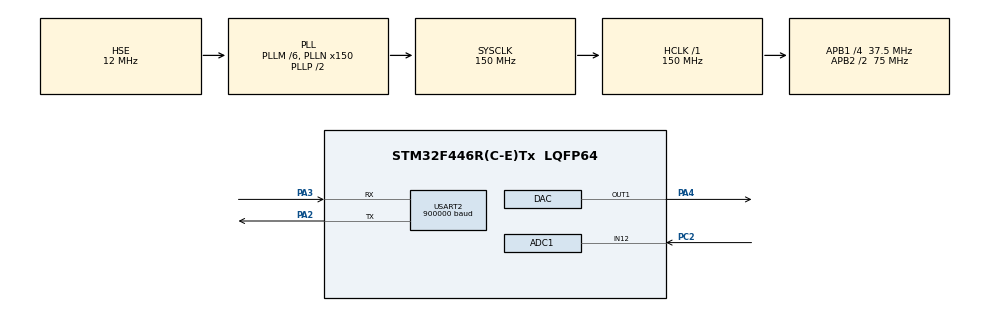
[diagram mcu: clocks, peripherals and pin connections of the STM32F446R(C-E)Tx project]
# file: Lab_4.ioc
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ADC1.Channel-2\#ChannelRegularConversion=ADC_CHANNEL_12
ADC1.NbrOfConversionFlag=1
ADC1.Rank-2\#ChannelRegularConversion=1
ADC1.SamplingTime-2\#ChannelRegularConversion=ADC_SAMPLETIME_3CYCLES
ADC1.master=1
DAC.DAC_Trigger=DAC_TRIGGER_NONE
Dma.ADC1.0.Direction=DMA_PERIPH_TO_MEMORY
Dma.ADC1.0.FIFOMode=DMA_FIFOMODE_DISABLE
Dma.ADC1.0.Instance=DMA2_Stream0
Dma.ADC1.0.MemDataAlignment=DMA_MDATAALIGN_HALFWORD
Dma.ADC1.0.MemInc=DMA_MINC_ENABLE
Dma.ADC1.0.Mode=DMA_NORMAL
Dma.ADC1.0.PeriphDataAlignment=DMA_PDATAALIGN_HALFWORD
Dma.ADC1.0.PeriphInc=DMA_PINC_DISABLE
Dma.ADC1.0.Priority=DMA_PRIORITY_LOW
Dma.Request0=ADC1
Mcu.Family=STM32F4
Mcu.Name=STM32F446R(C-E)Tx
Mcu.Package=LQFP64
NVIC.DMA2_Stream0_IRQn=true\:0\:0\:false\:false\:true\:false\:true\:true
NVIC.PriorityGroup=NVIC_PRIORITYGROUP_4
NVIC.TIM6_DAC_IRQn=true\:0\:0\:false\:false\:true\:true\:true\:true
NVIC.USART2_IRQn=true\:0\:0\:false\:false\:true\:true\:true\:true
PA2.Mode=Asynchronous
PA2.Signal=USART2_TX
PA3.Mode=Asynchronous
PA3.Signal=USART2_RX
PA4.Signal=COMP_DAC1_group
PC2.Signal=ADCx_IN12
PH0-OSC_IN.Mode=HSE-External-Oscillator
PH0-OSC_IN.Signal=RCC_OSC_IN
PH1-OSC_OUT.Mode=HSE-External-Oscillator
PH1-OSC_OUT.Signal=RCC_OSC_OUT
ProjectManager.HeapSize=0x200
ProjectManager.StackSize=0x400
ProjectManager.TargetToolchain=STM32CubeIDE
RCC.AHBFreq_Value=150000000
RCC.APB1CLKDivider=RCC_HCLK_DIV4
RCC.APB1Freq_Value=37500000
RCC.APB1TimFreq_Value=75000000
RCC.APB2CLKDivider=RCC_HCLK_DIV2
RCC.APB2Freq_Value=75000000
RCC.APB2TimFreq_Value=150000000
RCC.CortexFreq_Value=150000000
RCC.HCLKFreq_Value=150000000
RCC.HSE_VALUE=12000000
RCC.PLLM=6
RCC.PLLN=150
RCC.PLLSourceVirtual=RCC_PLLSOURCE_HSE
RCC.SYSCLKFreq_VALUE=150000000
RCC.SYSCLKSource=RCC_SYSCLKSOURCE_PLLCLK
RCC.USBFreq_Value=150000000
RCC.VCOOutputFreq_Value=300000000
SH.ADCx_IN12.0=ADC1_IN12,IN12
SH.COMP_DAC1_group.0=DAC_OUT1,DAC_OUT1
TIM6.Period=999
TIM6.Prescaler=74
USART2.BaudRate=900000
USART2.VirtualMode=VM_ASYNC
VP_TIM6_VS_ClockSourceINT.Mode=Enable_Timer
board=custom

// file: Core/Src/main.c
/* USER CODE BEGIN Header */
/**
  ******************************************************************************
  * @file           : main.c
  * @brief          : Main program body
  ******************************************************************************
  * @attention
  *
  * Copyright (c) 2024 STMicroelectronics.
  * All rights reserved.
  *
  * This software is licensed under terms that can be found in the LICENSE file
  * in the root directory of this software component.
  * If no LICENSE file comes with this software, it is provided AS-IS.
  *
  ******************************************************************************
  */
/* USER CODE END Header */
#include "main.h"

/* USER CODE BEGIN Includes */
#include "math.h"
#include "string.h"
#include "stdio.h"
/* USER CODE END Includes */

/* USER CODE BEGIN PD */
#define SAMPLE_RATE 1000
#define VREF 3.3f
#define UART_RX_BUFFER_SIZE 10
#define UART_TX_BUFFER_SIZE 32
#define ADC_BUFFER_SIZE 1

#define COMMAND_SIZE 8
#define INVALID_COMMAND "INVALID_COMMAND"
#define SUCCESSFUL "SUCCESSFUL"
#define START_SYMBOL 'S'
#define END_SYMBOL 'E'
#define FREQUENCY_SYMBOL 'F'
#define AMPLITUDE_SYMBOL 'A'
/* USER CODE END PD */

 ADC_HandleTypeDef hadc1;
DMA_HandleTypeDef hdma_adc1;

DAC_HandleTypeDef hdac;

TIM_HandleTypeDef htim6;

UART_HandleTypeDef huart2;

/* USER CODE BEGIN PV */
uint16_t sine[SAMPLE_RATE];
uint16_t sample_index = 0;
float amplitude = 3.0f;
float offs = 0.0f;
float f = 10.0f;

uint8_t rxData[UART_RX_BUFFER_SIZE];
uint8_t txData[UART_TX_BUFFER_SIZE];

uint32_t adcData[ADC_BUFFER_SIZE];
float adc_voltage = 0;
/* USER CODE END PV */

void SystemClock_Config(void);
static void MX_GPIO_Init(void);
static void MX_TIM6_Init(void);
static void MX_DAC_Init(void);
static void MX_DMA_Init(void);
static void MX_ADC1_Init(void);
static void MX_USART2_UART_Init(void);
/* USER CODE BEGIN PFP */
void generate_sin(float ampl, float offset, float freq);
void handle_invalid_command();
void handle_command(char* command);
/* USER CODE END PFP */

/* USER CODE BEGIN 0 */
void generate_sin(float ampl, float offset, float freq) {
	float omega = 2.0f * M_PI * freq / SAMPLE_RATE;
	for (int i = 0; i < SAMPLE_RATE; i++) {
		float value = offset + ampl * sinf(omega * i);
		value = (value + ampl) / (2 * VREF);
		sine[i] = (uint16_t)(value * 4095);
	}
}

void handle_invalid_command() {
	HAL_UART_Transmit_IT(&huart2, (uint8_t *)INVALID_COMMAND, strlen(INVALID_COMMAND));
}

void handle_command(char* command) {
	if (command[0] == FREQUENCY_SYMBOL && command[4] == AMPLITUDE_SYMBOL) {
		f = (float)((command[1] - '0') * 100 + (command[2] - '0') * 10 + command[3] - '0');
		amplitude = command[5] - '0' + (command[7] - '0') * 0.1;
		if (amplitude > VREF) {
			amplitude = VREF;
		}
		generate_sin(amplitude, offs, f);
		HAL_UART_Transmit_IT(&huart2, (uint8_t *)SUCCESSFUL, strlen(SUCCESSFUL));
	} else {
		handle_invalid_command();
	}
}

void HAL_ADC_ConvCpltCallback(ADC_HandleTypeDef *hadc) {
    if(hadc->Instance == ADC1) {
    	adc_voltage = VREF * adcData[0] / 4095.0;
    	if (HAL_ADC_Start_DMA(&hadc1, (uint32_t*)adcData, ADC_BUFFER_SIZE) != HAL_OK) {
    		  Error_Handler();
    	}
    }
}

void HAL_TIM_PeriodElapsedCallback(TIM_HandleTypeDef *htim) {
	if (htim->Instance == TIM6) {
		HAL_DAC_SetValue(&hdac, DAC_CHANNEL_1, DAC_ALIGN_12B_R, sine[sample_index]);
		sample_index = (sample_index + 1) % SAMPLE_RATE;

		snprintf((char*)txData, sizeof(txData), "v:%f\r\n", adc_voltage);
		HAL_UART_Transmit_IT(&huart2, txData, strlen((char*)txData));
	}
}

void HAL_UART_RxCpltCallback(UART_HandleTypeDef *huart) {
	if (huart->Instance == USART2) {
		if (rxData[0] == START_SYMBOL && rxData[9] == END_SYMBOL) {
			char command[COMMAND_SIZE + 1];
			strncpy(command, (char *)&rxData[1], COMMAND_SIZE);
			command[COMMAND_SIZE] = '\0';
			handle_command(command);
		} else {
			handle_invalid_command();
		}
		memset(rxData, 0, sizeof(rxData));
		HAL_UART_Receive_IT(&huart2, rxData, sizeof(rxData));
	}
}
/* USER CODE END 0 */

int main(void)
{

  /* MCU Configuration--------------------------------------------------------*/

  /* Reset of all peripherals, Initializes the Flash interface and the Systick. */
  HAL_Init();

  /* Configure the system clock */
  SystemClock_Config();

  /* Initialize all configured peripherals */
  MX_GPIO_Init();
  MX_TIM6_Init();
  MX_DAC_Init();
  MX_DMA_Init();
  MX_ADC1_Init();
  MX_USART2_UART_Init();
  /* USER CODE BEGIN 2 */
  if (amplitude > VREF) {
  	  amplitude = VREF;
  }
  generate_sin(amplitude, offs, f);

  HAL_TIM_Base_Start_IT(&htim6);
  HAL_UART_Receive_IT(&huart2, rxData, sizeof(rxData));
  HAL_DAC_Start(&hdac, DAC_CHANNEL_1);

  if (HAL_ADC_Start_DMA(&hadc1, (uint32_t*)adcData, ADC_BUFFER_SIZE) != HAL_OK) {
          Error_Handler();
  }
  /* USER CODE END 2 */

  /* Infinite loop */
  while (1)
  {

  }
}

void SystemClock_Config(void)
{
  RCC_OscInitTypeDef RCC_OscInitStruct = {0};
  RCC_ClkInitTypeDef RCC_ClkInitStruct = {0};

  /** Configure the main internal regulator output voltage
  */
  __HAL_RCC_PWR_CLK_ENABLE();
  __HAL_PWR_VOLTAGESCALING_CONFIG(PWR_REGULATOR_VOLTAGE_SCALE1);

  /** Initializes the RCC Oscillators according to the specified parameters
  * in the RCC_OscInitTypeDef structure.
  */
  RCC_OscInitStruct.OscillatorType = RCC_OSCILLATORTYPE_HSE;
  RCC_OscInitStruct.HSEState = RCC_HSE_ON;
  RCC_OscInitStruct.PLL.PLLState = RCC_PLL_ON;
  RCC_OscInitStruct.PLL.PLLSource = RCC_PLLSOURCE_HSE;
  RCC_OscInitStruct.PLL.PLLM = 6;
  RCC_OscInitStruct.PLL.PLLN = 150;
  RCC_OscInitStruct.PLL.PLLP = RCC_PLLP_DIV2;
  RCC_OscInitStruct.PLL.PLLQ = 2;
  RCC_OscInitStruct.PLL.PLLR = 2;
  if (HAL_RCC_OscConfig(&RCC_OscInitStruct) != HAL_OK)
  {
    Error_Handler();
  }

  /** Initializes the CPU, AHB and APB buses clocks
  */
  RCC_ClkInitStruct.ClockType = RCC_CLOCKTYPE_HCLK|RCC_CLOCKTYPE_SYSCLK
                              |RCC_CLOCKTYPE_PCLK1|RCC_CLOCKTYPE_PCLK2;
  RCC_ClkInitStruct.SYSCLKSource = RCC_SYSCLKSOURCE_PLLCLK;
  RCC_ClkInitStruct.AHBCLKDivider = RCC_SYSCLK_DIV1;
  RCC_ClkInitStruct.APB1CLKDivider = RCC_HCLK_DIV4;
  RCC_ClkInitStruct.APB2CLKDivider = RCC_HCLK_DIV2;

  if (HAL_RCC_ClockConfig(&RCC_ClkInitStruct, FLASH_LATENCY_4) != HAL_OK)
  {
    Error_Handler();
  }
}

static void MX_ADC1_Init(void)
{

  ADC_ChannelConfTypeDef sConfig = {0};

  /** Configure the global features of the ADC (Clock, Resolution, Data Alignment and number of conversion)
  */
  hadc1.Instance = ADC1;
  hadc1.Init.ClockPrescaler = ADC_CLOCK_SYNC_PCLK_DIV4;
  hadc1.Init.Resolution = ADC_RESOLUTION_12B;
  hadc1.Init.ScanConvMode = DISABLE;
  hadc1.Init.ContinuousConvMode = DISABLE;
  hadc1.Init.DiscontinuousConvMode = DISABLE;
  hadc1.Init.ExternalTrigConvEdge = ADC_EXTERNALTRIGCONVEDGE_NONE;
  hadc1.Init.ExternalTrigConv = ADC_SOFTWARE_START;
  hadc1.Init.DataAlign = ADC_DATAALIGN_RIGHT;
  hadc1.Init.NbrOfConversion = 1;
  hadc1.Init.DMAContinuousRequests = DISABLE;
  hadc1.Init.EOCSelection = ADC_EOC_SINGLE_CONV;
  if (HAL_ADC_Init(&hadc1) != HAL_OK)
  {
    Error_Handler();
  }

  /** Configure for the selected ADC regular channel its corresponding rank in the sequencer and its sample time.
  */
  sConfig.Channel = ADC_CHANNEL_12;
  sConfig.Rank = 1;
  sConfig.SamplingTime = ADC_SAMPLETIME_3CYCLES;
  if (HAL_ADC_ConfigChannel(&hadc1, &sConfig) != HAL_OK)
  {
    Error_Handler();
  }

}

static void MX_DAC_Init(void)
{

  DAC_ChannelConfTypeDef sConfig = {0};

  /** DAC Initialization
  */
  hdac.Instance = DAC;
  if (HAL_DAC_Init(&hdac) != HAL_OK)
  {
    Error_Handler();
  }

  /** DAC channel OUT1 config
  */
  sConfig.DAC_Trigger = DAC_TRIGGER_NONE;
  sConfig.DAC_OutputBuffer = DAC_OUTPUTBUFFER_ENABLE;
  if (HAL_DAC_ConfigChannel(&hdac, &sConfig, DAC_CHANNEL_1) != HAL_OK)
  {
    Error_Handler();
  }

}

static void MX_TIM6_Init(void)
{

  TIM_MasterConfigTypeDef sMasterConfig = {0};

  htim6.Instance = TIM6;
  htim6.Init.Prescaler = 74;
  htim6.Init.CounterMode = TIM_COUNTERMODE_UP;
  htim6.Init.Period = 999;
  htim6.Init.AutoReloadPreload = TIM_AUTORELOAD_PRELOAD_DISABLE;
  if (HAL_TIM_Base_Init(&htim6) != HAL_OK)
  {
    Error_Handler();
  }
  sMasterConfig.MasterOutputTrigger = TIM_TRGO_RESET;
  sMasterConfig.MasterSlaveMode = TIM_MASTERSLAVEMODE_DISABLE;
  if (HAL_TIMEx_MasterConfigSynchronization(&htim6, &sMasterConfig) != HAL_OK)
  {
    Error_Handler();
  }

}

static void MX_USART2_UART_Init(void)
{

  huart2.Instance = USART2;
  huart2.Init.BaudRate = 900000;
  huart2.Init.WordLength = UART_WORDLENGTH_8B;
  huart2.Init.StopBits = UART_STOPBITS_1;
  huart2.Init.Parity = UART_PARITY_NONE;
  huart2.Init.Mode = UART_MODE_TX_RX;
  huart2.Init.HwFlowCtl = UART_HWCONTROL_NONE;
  huart2.Init.OverSampling = UART_OVERSAMPLING_16;
  if (HAL_UART_Init(&huart2) != HAL_OK)
  {
    Error_Handler();
  }

}

static void MX_DMA_Init(void)
{

  /* DMA controller clock enable */
  __HAL_RCC_DMA2_CLK_ENABLE();

  /* DMA interrupt init */
  /* DMA2_Stream0_IRQn interrupt configuration */
  HAL_NVIC_SetPriority(DMA2_Stream0_IRQn, 0, 0);
  HAL_NVIC_EnableIRQ(DMA2_Stream0_IRQn);

}

static void MX_GPIO_Init(void)
{

  /* GPIO Ports Clock Enable */
  __HAL_RCC_GPIOH_CLK_ENABLE();
  __HAL_RCC_GPIOC_CLK_ENABLE();
  __HAL_RCC_GPIOA_CLK_ENABLE();

}

void Error_Handler(void)
{
  __disable_irq();
  while (1)
  {
  }
}
